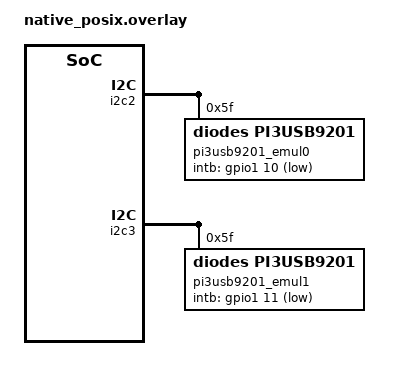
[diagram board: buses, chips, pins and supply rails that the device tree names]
/* Copyright 2022 The ChromiumOS Authors
 * Use of this source code is governed by a BSD-style license that can be
 * found in the LICENSE file.
 */

#include "../../boards/native_posix.overlay"

/delete-node/ &int_usb_c0_bc12;
/delete-node/ &int_usb_c1_bc12;

&i2c2 {
	/delete-node/ pi3usb9201@5f;

	pi3usb9201_emul0: pi3usb9201@5f {
		compatible = "diodes,pi3usb9201";
		reg = <0x5f>;
		intb-gpios = <&gpio1 10 GPIO_ACTIVE_LOW>;
		charging-mode = "BC12_TYPE_CDP";
	};
};

&i2c3 {
	/delete-node/ pi3usb9201@5d;

	pi3usb9201_emul1: pi3usb9201@5d {
		compatible = "diodes,pi3usb9201";
		reg = <0x5f>;
		intb-gpios = <&gpio1 11 GPIO_ACTIVE_LOW>;
		charging-mode = "BC12_TYPE_CDP";
	};
};
